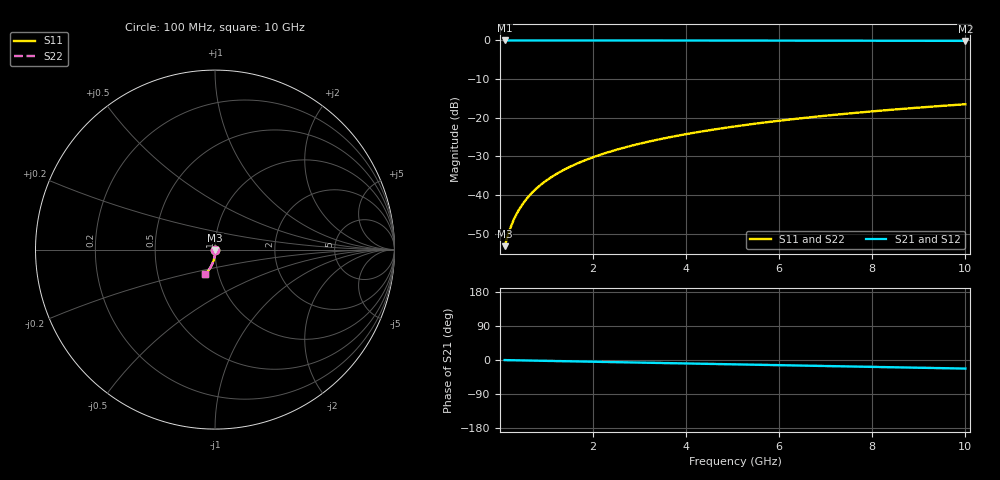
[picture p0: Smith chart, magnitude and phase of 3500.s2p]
# Hz S RI R 50.00
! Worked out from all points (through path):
!   100 points, 100 MHz to 10 GHz, reference 50 ohm
!   highest |S21| = -0.01 dB at 100 MHz (marker M1); lowest = -0.1 dB at 10 GHz (marker M2)
!   group delay of S21, straight-line fit = 6.29 ps
!   lowest |S11| = -53.2 dB at 100 MHz (marker M3), VSWR 1.00, Z = 50.2 - j0.155 ohm
!   |S11| at or under -10 dB: start of sweep to end of sweep
!   |S22| runs from -53.2 to -16.5 dB; largest |S21 - S12| = 0
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1e8  0.00155 -0.00155  0.9984 -0.00397  0.9984 -0.00397  0.00155 -0.00155
2e8  0.00154 -0.0031  0.9984 -0.00793  0.9984 -0.00793  0.00154 -0.0031
3e8  0.00151 -0.00465  0.9983 -0.0119  0.9983 -0.0119  0.00151 -0.00465
4e8  0.00147 -0.0062  0.9983 -0.0159  0.9983 -0.0159  0.00147 -0.0062
5e8  0.00142 -0.00774  0.9982 -0.0198  0.9982 -0.0198  0.00142 -0.00774
6e8  0.00136 -0.00929  0.9981 -0.0238  0.9981 -0.0238  0.00136 -0.00929
7e8  0.00128 -0.0108  0.9979 -0.0278  0.9979 -0.0278  0.00128 -0.0108
9e8  0.00108 -0.0139  0.9976 -0.0357  0.9976 -0.0357  0.00108 -0.0139
1e9  0.000968 -0.0155  0.9975 -0.0397  0.9975 -0.0397  0.000968 -0.0155
1.2e9  0.000699 -0.0186  0.997 -0.0476  0.997 -0.0476  0.000699 -0.0186
1.5e9  0.000204 -0.0232  0.9963 -0.0594  0.9963 -0.0594  0.000204 -0.0232
1.8e9  -0.000402 -0.0278  0.9954 -0.0713  0.9954 -0.0713  -0.000402 -0.0278
2.1e9  -0.00112 -0.0324  0.9943 -0.0831  0.9943 -0.0831  -0.00112 -0.0324
2.5e9  -0.00224 -0.0385  0.9926 -0.0989  0.9926 -0.0989  -0.00224 -0.0385
2.9e9  -0.00356 -0.0445  0.9907 -0.1146  0.9907 -0.1146  -0.00356 -0.0445
3.4e9  -0.00547 -0.052  0.9878 -0.1342  0.9878 -0.1342  -0.00547 -0.052
4.2e9  -0.00914 -0.0638  0.9823 -0.1653  0.9823 -0.1653  -0.00914 -0.0638
5.1e9  -0.0142 -0.0768  0.9748 -0.2  0.9748 -0.2  -0.0142 -0.0768
5.9e9  -0.0194 -0.088  0.9669 -0.2305  0.9669 -0.2305  -0.0194 -0.088
6.7e9  -0.0253 -0.0988  0.958 -0.2606  0.958 -0.2606  -0.0253 -0.0988
8.4e9  -0.0399 -0.1203  0.9357 -0.3231  0.9357 -0.3231  -0.0399 -0.1203
1e10  -0.0561 -0.1386  0.9106 -0.3797  0.9106 -0.3797  -0.0561 -0.1386
